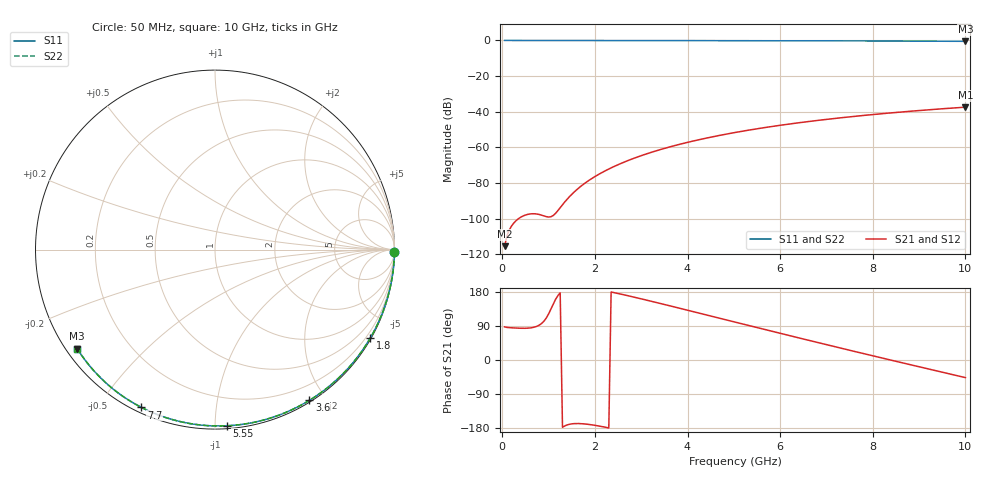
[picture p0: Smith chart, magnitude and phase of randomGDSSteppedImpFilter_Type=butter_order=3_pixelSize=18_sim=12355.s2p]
! freq	dB(S11)	phase(S11)	dB(S12)	phase(S12)
!  dB(S21)	phase(S21)	dB(S22)	phase(S22)
!S-par simulation data
#  GHz  S  DB  R 50
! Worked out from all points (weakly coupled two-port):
!   200 points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, 50 MHz to 10 GHz, reference 50 ohm
!   highest |S21| = -37.44 dB at 10 GHz (marker M1); lowest = -115.5 dB at 50 MHz (marker M2)
!   lowest |S11| = -0.5 dB at 10 GHz (marker M3), VSWR 35.74, Z = 1.54 - j16.1 ohm
!   |S11| at or under -10 dB: nowhere
!   |S22| runs from -0.5 to 0.0 dB; largest |S21 - S12| = 0
!   S11 on the Smith chart (normalised r, x): 50 MHz: open; 1.8 GHz: 0.03, -3.77; 3.6 GHz: 0.02, -1.81; 5.55 GHz: 0.02, -1.07; 7.7 GHz: 0.02, -0.64; 10 GHz: 0.03, -0.32
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0.05  -0.00 -0.8  -115.47 87.3  -115.47 87.3  -0.00 -0.8
0.45  -0.01 -7.5  -98.49 83.7  -98.49 83.7  -0.01 -7.5
0.9  -0.02 -15.0  -98.49 102.6  -98.49 102.6  -0.02 -15.0
1.3  -0.03 -21.6  -92.20 -177.6  -92.20 -177.6  -0.03 -21.6
1.75  -0.04 -28.9  -80.76 -168.4  -80.76 -168.4  -0.04 -28.9
1.8  -0.04 -29.7  -79.81 -169.0  -79.81 -169.0  -0.04 -29.7
1.95  -0.04 -32.1  -77.19 -171.4  -77.19 -171.4  -0.04 -32.1
2.1  -0.04 -34.5  -74.89 -174.5  -74.89 -174.5  -0.04 -34.5
2.3  -0.05 -37.7  -72.15 -179.2  -72.15 -179.2  -0.05 -37.7
2.5  -0.05 -40.9  -69.73 175.5  -69.73 175.5  -0.05 -40.9
2.9  -0.06 -47.2  -65.58 164.3  -65.58 164.3  -0.06 -47.2
3.4  -0.07 -54.9  -61.34 149.5  -61.34 149.5  -0.07 -54.9
3.6  -0.08 -57.9  -59.86 143.5  -59.86 143.5  -0.08 -57.9
4.3  -0.10 -68.4  -55.40 122.2  -55.40 122.2  -0.10 -68.4
5.05  -0.12 -79.2  -51.55 99.3  -51.55 99.3  -0.12 -79.2
5.55  -0.14 -86.3  -49.37 84.1  -49.37 84.1  -0.14 -86.3
6.1  -0.17 -93.8  -47.25 67.4  -47.25 67.4  -0.17 -93.8
6.7  -0.20 -101.9  -45.22 49.4  -45.22 49.4  -0.20 -101.9
7.7  -0.26 -115.0  -42.35 19.8  -42.35 19.8  -0.26 -115.0
8.35  -0.32 -123.3  -40.75 0.9  -40.75 0.9  -0.32 -123.4
9.2  -0.40 -134.1  -38.93 -23.6  -38.93 -23.6  -0.40 -134.1
10  -0.49 -144.3  -37.44 -46.5  -37.44 -46.5  -0.49 -144.3
